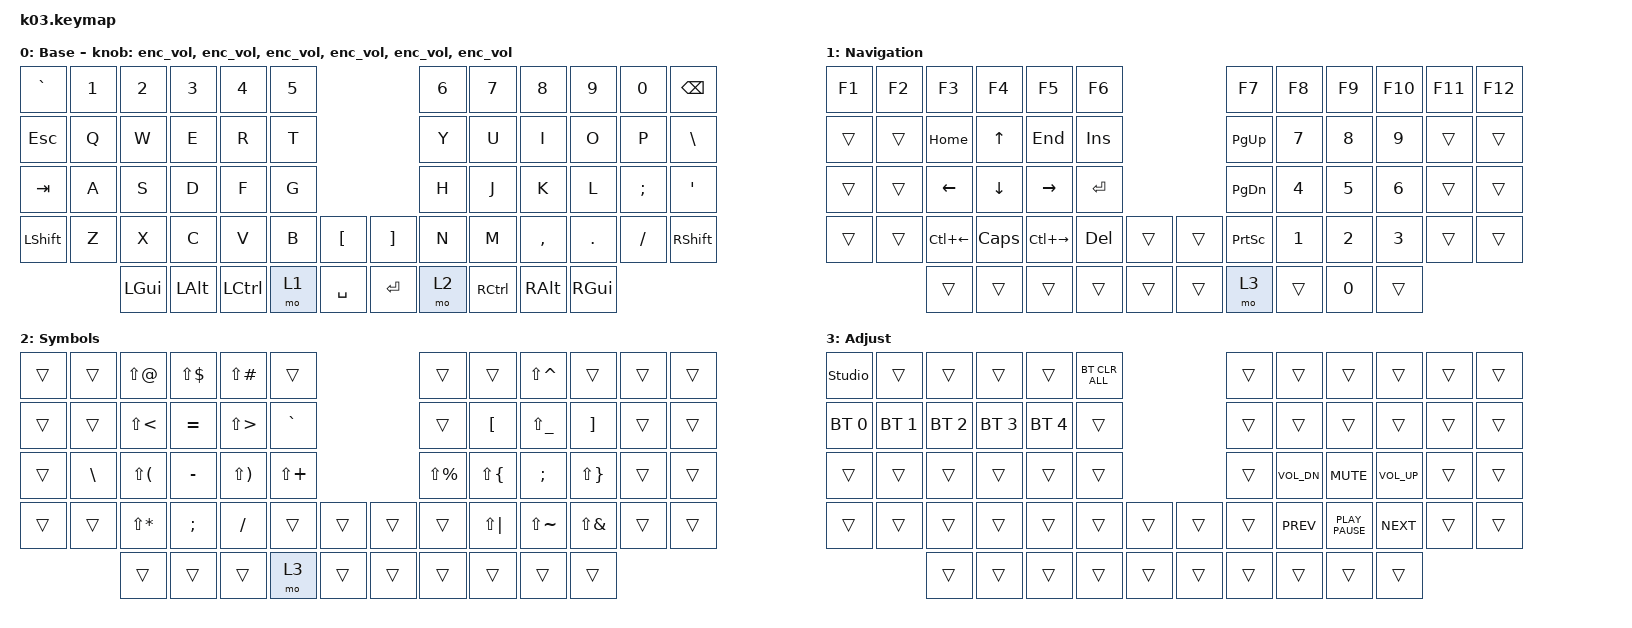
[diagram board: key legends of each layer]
#include "keys_ru.h"
#include <behaviors.dtsi>
#include <dt-bindings/zmk/bt.h>
#include <dt-bindings/zmk/keys.h>

/ {
    behaviors {
        enc_vol: enc_vol {
            compatible = "zmk,behavior-sensor-rotate";
            label = "ENC_VOL";
            #sensor-binding-cells = <0>;
            bindings = <&kp C_VOL_UP>, <&kp C_VOL_DN>;
        };
    };

    keymap {
        compatible = "zmk,keymap";

        base {
            bindings = <
&kp GRAVE  &kp N1  &kp N2    &kp N3    &kp N4     &kp N5                          &kp N6  &kp N7     &kp N8     &kp N9    &kp N0    &kp BSPC
&kp ESC    &kp Q   &kp W     &kp E     &kp R      &kp T                           &kp Y   &kp U      &kp I      &kp O     &kp P     &kp BSLH
&kp TAB    &kp A   &kp S     &kp D     &kp F      &kp G                           &kp H   &kp J      &kp K      &kp L     &kp SEMI  &kp SQT
&kp LSHFT  &kp Z   &kp X     &kp C     &kp V      &kp B   &kp LBKT     &kp RBKT   &kp N   &kp M      &kp COMMA  &kp DOT   &kp FSLH  &kp RSHFT
                   &kp LGUI  &kp LALT  &kp LCTRL  &mo 1   &kp SPACE    &kp ENTER  &mo 2   &kp RCTRL  &kp RALT   &kp RGUI
            >;

            display-name = "Base";
            sensor-bindings =
                <&enc_vol>,
                <&enc_vol>,
                <&enc_vol>,
                <&enc_vol>,
                <&enc_vol>,
                <&enc_vol>;
        };

        nav {
            bindings = <
&kp F1  &kp F2  &kp F3        &kp F4    &kp F5         &kp F6                     &kp F7           &kp F8  &kp F9  &kp F10  &kp F11  &kp F12
&trans  &trans  &kp HOME      &kp UP    &kp END        &kp INS                    &kp PG_UP        &kp N7  &kp N8  &kp N9   &trans   &trans
&trans  &trans  &kp LEFT      &kp DOWN  &kp RIGHT      &kp RET                    &kp PG_DN        &kp N4  &kp N5  &kp N6   &trans   &trans
&trans  &trans  &kp LC(LEFT)  &kp CAPS  &kp LC(RIGHT)  &kp DEL  &trans    &trans  &kp PRINTSCREEN  &kp N1  &kp N2  &kp N3   &trans   &trans
                &trans        &trans    &trans         &trans   &trans    &trans  &mo 3            &trans  &kp N0  &trans
            >;

            display-name = "Navigation";
        };

        sym {
            bindings = <
&trans  &trans    &kp LS(AT)    &kp LS(DLLR)  &kp LS(POUND)  &trans                          &trans         &trans        &kp LS(CARET)  &trans        &trans  &trans
&trans  &trans    &kp LS(LT)    &kp EQUAL     &kp LS(GT)     &kp GRAVE                       &trans         &kp LBKT      &kp LS(UNDER)  &kp RBKT      &trans  &trans
&trans  &kp BSLH  &kp LS(LPAR)  &kp MINUS     &kp LS(RPAR)   &kp LS(PLUS)                    &kp LS(PRCNT)  &kp LS(LBRC)  &kp SEMI       &kp LS(RBRC)  &trans  &trans
&trans  &trans    &kp LS(STAR)  &kp SEMI      &kp FSLH       &trans        &trans    &trans  &trans         &kp LS(PIPE)  &kp LS(TILDE)  &kp LS(AMPS)  &trans  &trans
                  &trans        &trans        &trans         &mo 3         &trans    &trans  &trans         &trans        &trans         &trans
            >;

            display-name = "Symbols";
        };

        adj {
            bindings = <
&studio_unlock  &trans        &trans        &trans        &trans        &bt BT_CLR_ALL                    &trans  &trans        &trans            &trans        &trans  &trans
&bt BT_SEL 0    &bt BT_SEL 1  &bt BT_SEL 2  &bt BT_SEL 3  &bt BT_SEL 4  &trans                            &trans  &trans        &trans            &trans        &trans  &trans
&trans          &trans        &trans        &trans        &trans        &trans                            &trans  &kp C_VOL_DN  &kp K_MUTE        &kp C_VOL_UP  &trans  &trans
&trans          &trans        &trans        &trans        &trans        &trans          &trans    &trans  &trans  &kp K_PREV    &kp K_PLAY_PAUSE  &kp K_NEXT    &trans  &trans
                              &trans        &trans        &trans        &trans          &trans    &trans  &trans  &trans        &trans            &trans
            >;

            display-name = "Adjust";
        };
    };
};
